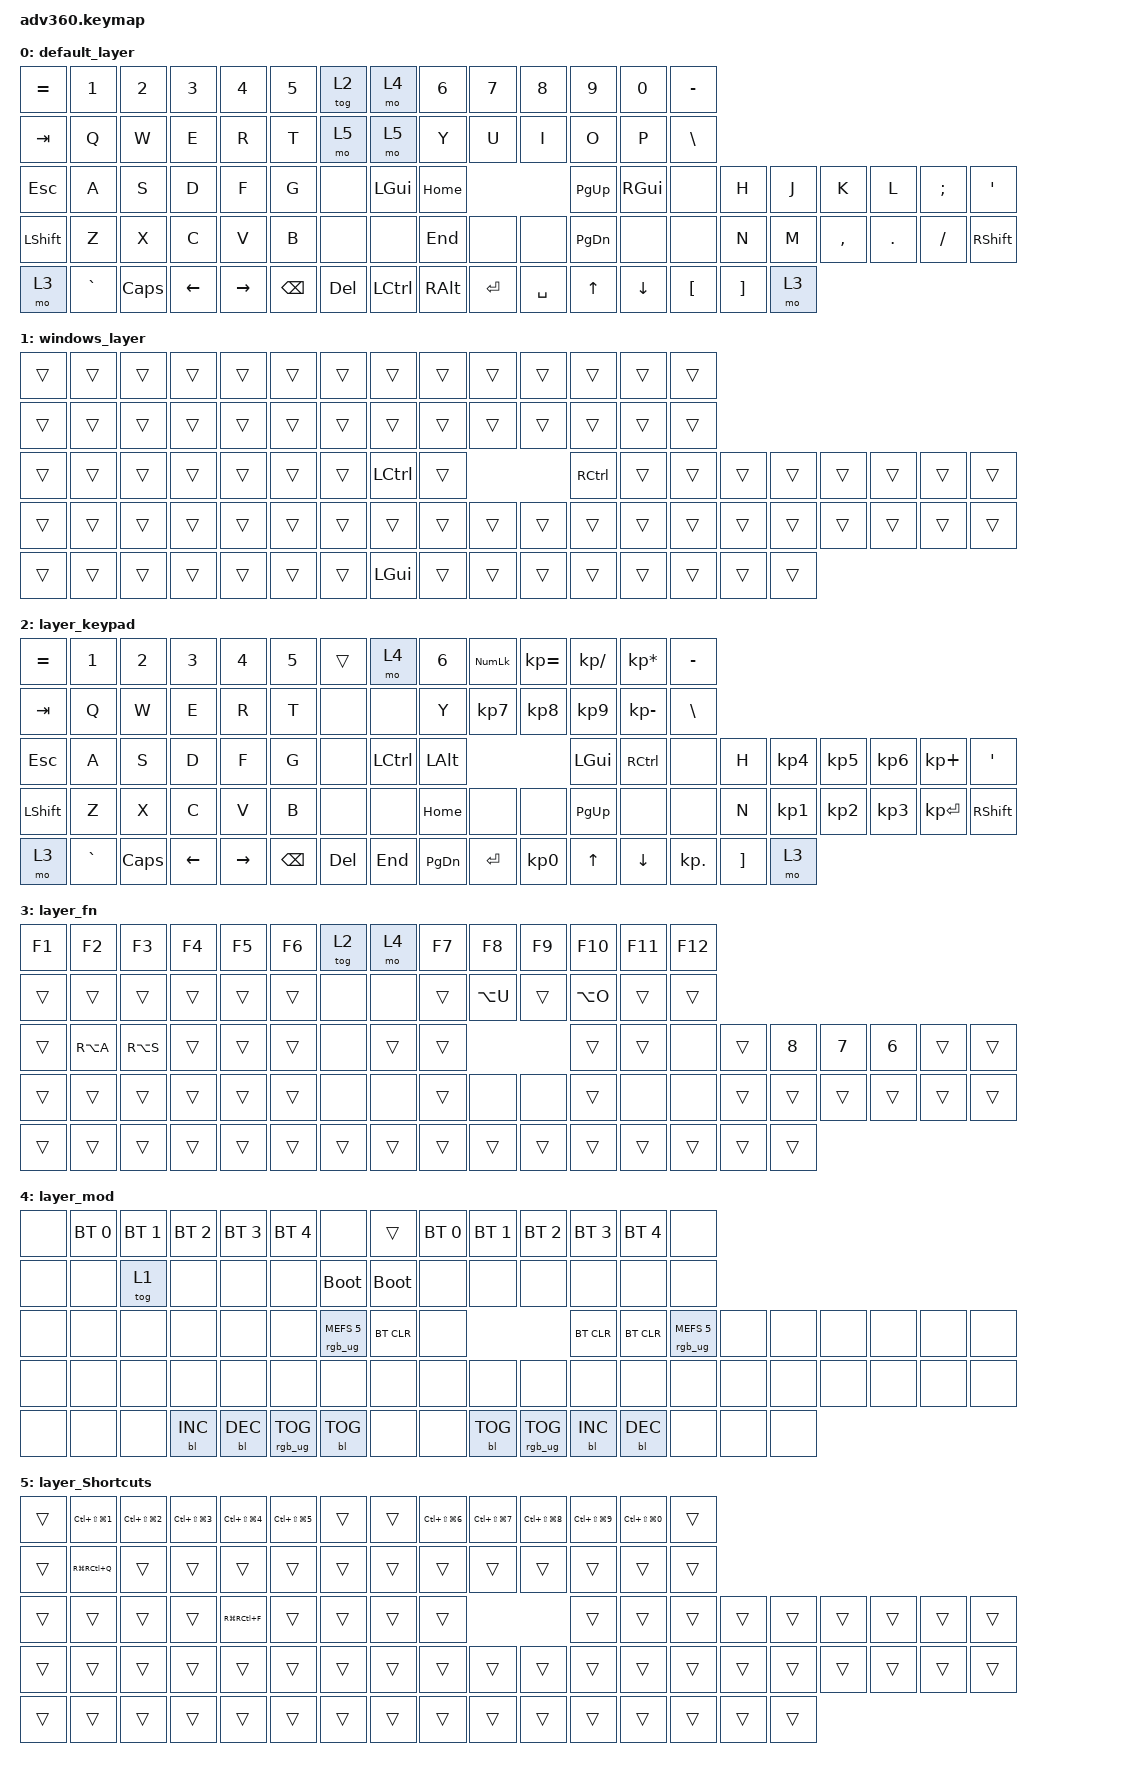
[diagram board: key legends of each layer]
/*
 * Copyright (c) 2020 The ZMK Contributors
 *
 * SPDX-License-Identifier: MIT
 */
/* THIS FILE WAS GENERATED!
 *
 * This file was generated automatically. You may or may not want to
 * edit it directly.
 */

#include <behaviors.dtsi>
#include <dt-bindings/zmk/backlight.h>
#include <dt-bindings/zmk/bt.h>
#include <dt-bindings/zmk/keys.h>
#include <dt-bindings/zmk/rgb.h>

/ {
    behaviors {
        #include "macros.dtsi"

        hm: homerow_mods {
            compatible = "zmk,behavior-hold-tap";
            label = "HOMEROW_MODS";
            #binding-cells = <2>;
            tapping-term-ms = <200>;
            quick_tap_ms = <175>;
            flavor = "tap-preferred";
            bindings = <&kp>, <&kp>;
        };
    };

    keymap {
        compatible = "zmk,keymap";

        default_layer {
            bindings = <
&kp EQUAL  &kp N1     &kp N2    &kp N3    &kp N4     &kp N5    &tog 2   &mo 4      &kp N6    &kp N7     &kp N8     &kp N9     &kp N0    &kp MINUS
&kp TAB    &kp Q      &kp W     &kp E     &kp R      &kp T     &mo 5    &mo 5      &kp Y     &kp U      &kp I      &kp O      &kp P     &kp BSLH
&kp ESC    &kp A      &kp S     &kp D     &kp F      &kp G     &none    &kp LGUI   &kp HOME                        &kp PG_UP  &kp RGUI  &none      &kp H     &kp J  &kp K      &kp L    &kp SEMI  &kp SQT
&kp LSHFT  &kp Z      &kp X     &kp C     &kp V      &kp B     &none    &none      &kp END   &none      &none      &kp PG_DN  &none     &none      &kp N     &kp M  &kp COMMA  &kp DOT  &kp FSLH  &kp RSHFT
&mo 3      &kp GRAVE  &kp CAPS  &kp LEFT  &kp RIGHT  &kp BSPC  &kp DEL  &kp LCTRL  &kp RALT  &kp ENTER  &kp SPACE  &kp UP     &kp DOWN  &kp LBKT   &kp RBKT  &mo 3
            >;
        };

        windows_layer {
            bindings = <
&trans  &trans  &trans  &trans  &trans  &trans  &trans  &trans     &trans  &trans  &trans  &trans     &trans  &trans
&trans  &trans  &trans  &trans  &trans  &trans  &trans  &trans     &trans  &trans  &trans  &trans     &trans  &trans
&trans  &trans  &trans  &trans  &trans  &trans  &trans  &kp LCTRL  &trans                  &kp RCTRL  &trans  &trans  &trans  &trans  &trans  &trans  &trans  &trans
&trans  &trans  &trans  &trans  &trans  &trans  &trans  &trans     &trans  &trans  &trans  &trans     &trans  &trans  &trans  &trans  &trans  &trans  &trans  &trans
&trans  &trans  &trans  &trans  &trans  &trans  &trans  &kp LGUI   &trans  &trans  &trans  &trans     &trans  &trans  &trans  &trans
            >;
        };

        layer_keypad {
            bindings = <
&kp EQUAL  &kp N1     &kp N2    &kp N3    &kp N4     &kp N5    &trans   &mo 4      &kp N6     &kp KP_NUM  &kp KP_EQUAL  &kp KP_DIVIDE  &kp KP_MULTIPLY  &kp MINUS
&kp TAB    &kp Q      &kp W     &kp E     &kp R      &kp T     &none    &none      &kp Y      &kp KP_N7   &kp KP_N8     &kp KP_N9      &kp KP_MINUS     &kp BSLH
&kp ESC    &kp A      &kp S     &kp D     &kp F      &kp G     &none    &kp LCTRL  &kp LALT                             &kp LGUI       &kp RCTRL        &none       &kp H     &kp KP_N4  &kp KP_N5  &kp KP_N6  &kp KP_PLUS   &kp SQT
&kp LSHFT  &kp Z      &kp X     &kp C     &kp V      &kp B     &none    &none      &kp HOME   &none       &none         &kp PG_UP      &none            &none       &kp N     &kp KP_N1  &kp KP_N2  &kp KP_N3  &kp KP_ENTER  &kp RSHFT
&mo 3      &kp GRAVE  &kp CAPS  &kp LEFT  &kp RIGHT  &kp BSPC  &kp DEL  &kp END    &kp PG_DN  &kp ENTER   &kp KP_N0     &kp UP         &kp DOWN         &kp KP_DOT  &kp RBKT  &mo 3
            >;
        };

        layer_fn {
            bindings = <
&kp F1  &kp F2     &kp F3     &kp F4  &kp F5  &kp F6  &tog 2  &mo 4   &kp F7  &kp F8     &kp F9  &kp F10    &kp F11  &kp F12
&trans  &trans     &trans     &trans  &trans  &trans  &none   &none   &trans  &kp LA(U)  &trans  &kp LA(O)  &trans   &trans
&trans  &kp RA(A)  &kp RA(S)  &trans  &trans  &trans  &none   &trans  &trans                     &trans     &trans   &none    &trans  &kp NUMBER_8  &kp N7  &kp N6  &trans  &trans
&trans  &trans     &trans     &trans  &trans  &trans  &none   &none   &trans  &none      &none   &trans     &none    &none    &trans  &trans        &trans  &trans  &trans  &trans
&trans  &trans     &trans     &trans  &trans  &trans  &trans  &trans  &trans  &trans     &trans  &trans     &trans   &trans   &trans  &trans
            >;
        };

        layer_mod {
            bindings = <
&none  &bt BT_SEL 0  &bt BT_SEL 1  &bt BT_SEL 2  &bt BT_SEL 3  &bt BT_SEL 4     &none                   &trans       &bt BT_SEL 0  &bt BT_SEL 1  &bt BT_SEL 2     &bt BT_SEL 3  &bt BT_SEL 4  &none
&none  &none         &tog 1        &none         &none         &none            &bootloader             &bootloader  &none         &none         &none            &none         &none         &none
&none  &none         &none         &none         &none         &none            &rgb_ug RGB_MEFS_CMD 5  &bt BT_CLR   &none                                        &bt BT_CLR    &bt BT_CLR    &rgb_ug RGB_MEFS_CMD 5  &none  &none  &none  &none  &none  &none
&none  &none         &none         &none         &none         &none            &none                   &none        &none         &none         &none            &none         &none         &none                   &none  &none  &none  &none  &none  &none
&none  &none         &none         &bl BL_INC    &bl BL_DEC    &rgb_ug RGB_TOG  &bl BL_TOG              &none        &none         &bl BL_TOG    &rgb_ug RGB_TOG  &bl BL_INC    &bl BL_DEC    &none                   &none  &none
            >;
        };

        layer_Shortcuts {
            bindings = <
&trans  &kp LC(LS(LG(NUMBER_1)))  &kp LC(LS(LG(NUMBER_2)))  &kp LC(LS(LG(NUMBER_3)))  &kp LC(LS(LG(NUMBER_4)))  &kp LC(LS(LG(NUMBER_5)))  &trans  &trans  &kp LC(LS(LG(NUMBER_6)))  &kp LC(LS(LG(NUMBER_7)))  &kp LC(LS(LG(NUMBER_8)))  &kp LC(LS(LG(NUMBER_9)))  &kp LC(LS(LG(NUMBER_0)))  &trans
&trans  &kp RG(RC(Q))             &trans                    &trans                    &trans                    &trans                    &trans  &trans  &trans                    &trans                    &trans                    &trans                    &trans                    &trans
&trans  &trans                    &trans                    &trans                    &kp RG(RC(F))             &trans                    &trans  &trans  &trans                                                                        &trans                    &trans                    &trans  &trans  &trans  &trans  &trans  &trans  &trans
&trans  &trans                    &trans                    &trans                    &trans                    &trans                    &trans  &trans  &trans                    &trans                    &trans                    &trans                    &trans                    &trans  &trans  &trans  &trans  &trans  &trans  &trans
&trans  &trans                    &trans                    &trans                    &trans                    &trans                    &trans  &trans  &trans                    &trans                    &trans                    &trans                    &trans                    &trans  &trans  &trans
            >;
        };
    };
};
